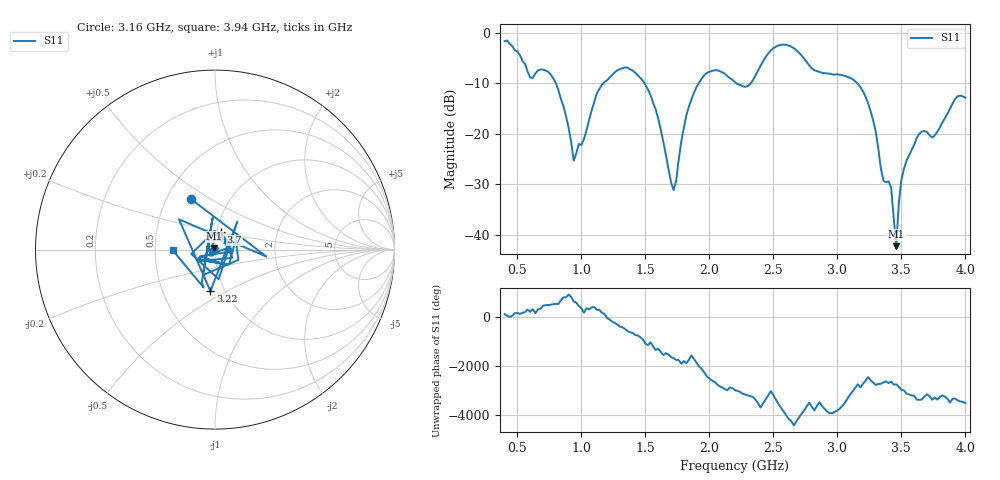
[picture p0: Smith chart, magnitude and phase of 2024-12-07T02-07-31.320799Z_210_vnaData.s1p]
!Created with skrf (http://scikit-rf.org).
# Hz S RI R 50.0
!freq ReS11 ImS11
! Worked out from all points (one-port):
!   181 points, 400 MHz to 4 GHz, reference 50 ohm
!   lowest |S11| = -42.2 dB at 3.46 GHz (marker M1), VSWR 1.02, Z = 49.7 + j0.701 ohm
!   |S11| at or under -10 dB: 800.6 MHz to 1.172 GHz (371 MHz wide, 37.6 % of centre); 1.492 GHz to 1.917 GHz (425 MHz wide, 24.9 % of centre); 3.154 GHz to end of sweep (the widest 3 of 4)
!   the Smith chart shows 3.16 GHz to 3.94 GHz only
!   S11 on the Smith chart (normalised r, x): 3.16 GHz: 0.66, +0.41; 3.22 GHz: 0.86, -0.42; 3.7 GHz: 1.05, +0.21; 3.94 GHz: 0.62, -0.01
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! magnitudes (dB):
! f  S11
! 400 MHz  -1.7
! 600 MHz  -8.9
! 760 MHz  -8.3
! 860 MHz  -14.6
! 940 MHz  -25.3
! 1.12 GHz  -12.0
! 1.3 GHz  -7.2
! 1.54 GHz  -12.3
! 1.72 GHz  -31.1
! 1.76 GHz  -25.2
! 1.84 GHz  -14.6
! 1.96 GHz  -8.4
! 2.2 GHz  -9.8
! 2.52 GHz  -2.8
! 2.66 GHz  -3.1
! 3.1 GHz  -9.0
! 3.16 GHz  -10.2
! 3.22 GHz  -12.7
! 3.3 GHz  -19.6
! 3.36 GHz  -29.3
! 3.42 GHz  -30.7
! 3.46 GHz  -42.2
! 3.5 GHz  -29.1
! 3.56 GHz  -24.3
! 3.7 GHz  -19.7
! 3.76 GHz  -20.4
! 3.94 GHz  -12.6
! 4 GHz  -12.9
